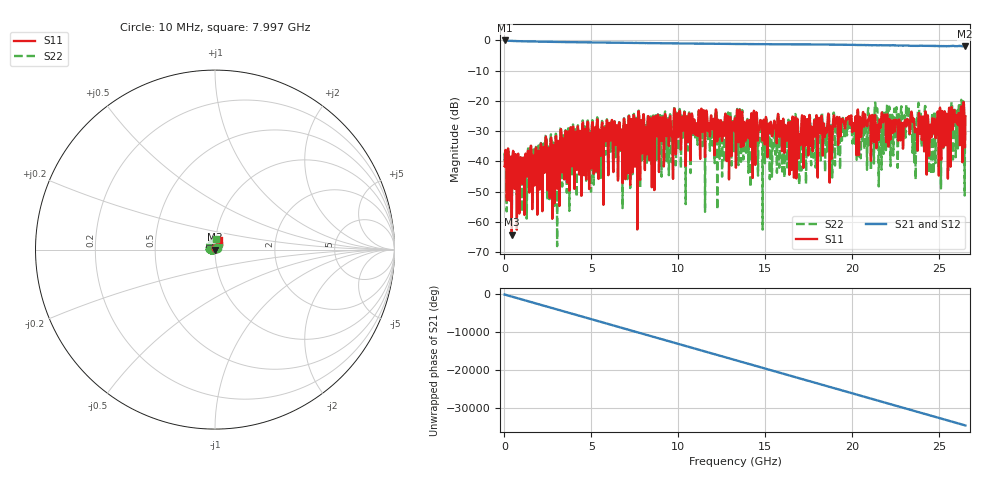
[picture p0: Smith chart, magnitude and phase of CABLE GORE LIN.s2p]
!Keysight Technologies,N5242A,MY56022913,Z.10.56.49
!Date: Friday, September 08, 2017 16:47:48
!Correction: S11(Full 2 Port(1,2))
!S21(Full 2 Port(1,2))
!S12(Full 2 Port(1,2))
!S22(Full 2 Port(1,2))
!S2P File: Measurements: S11, S21, S12, S22:
# Hz S  MA  R 50
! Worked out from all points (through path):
!   2001 points, 10 MHz to 26.5 GHz, reference 50 ohm
!   highest |S21| = -0.03 dB at 10 MHz (marker M1); lowest = -2.0 dB at 26.49 GHz (marker M2)
!   group delay of S21, straight-line fit = 3.63 ns
!   lowest |S11| = -64.2 dB at 420.6 MHz (marker M3), VSWR 1.00, Z = 50 + j0.0554 ohm
!   |S11| at or under -10 dB: start of sweep to end of sweep
!   |S22| runs from -68.0 to -19.6 dB; largest |S21 - S12| = 0.0079
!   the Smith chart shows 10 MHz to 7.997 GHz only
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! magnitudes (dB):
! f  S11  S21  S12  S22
! 10 MHz  -41.6  0.0  0.0  -37.3
! 420.6 MHz  -64.2  -0.2  -0.2  -61.0
! 4.434 GHz  -41.1  -0.6  -0.6  -40.2
! 8.844 GHz  -25.9  -0.9  -0.9  -25.5
! 13.26 GHz  -25.8  -1.2  -1.2  -25.1
! 14.42 GHz  -41.1  -1.2  -1.2  -35.5
! 14.71 GHz  -26.3  -1.3  -1.2  -30.6
! 16.65 GHz  -45.4  -1.3  -1.3  -30.7
! 16.95 GHz  -31.2  -1.3  -1.3  -47.6
! 17.49 GHz  -30.4  -1.3  -1.3  -28.4
! 17.68 GHz  -29.4  -1.3  -1.4  -32.5
! 21.12 GHz  -25.5  -1.6  -1.6  -27.1
! 21.32 GHz  -25.6  -1.6  -1.6  -20.7
! 21.59 GHz  -26.3  -1.6  -1.6  -30.8
! 22.09 GHz  -30.2  -1.6  -1.6  -25.6
! 23.23 GHz  -26.5  -1.7  -1.7  -21.7
! 23.55 GHz  -26.7  -1.8  -1.8  -36.0
! 23.82 GHz  -24.0  -1.8  -1.8  -21.2
! 24.53 GHz  -30.9  -1.8  -1.8  -33.6
! 26.26 GHz  -21.8  -1.9  -1.9  -19.6
! 26.49 GHz  -29.4  -2.0  -2.0  -31.0
! 26.5 GHz  -25.1  -1.9  -2.0  -29.4
